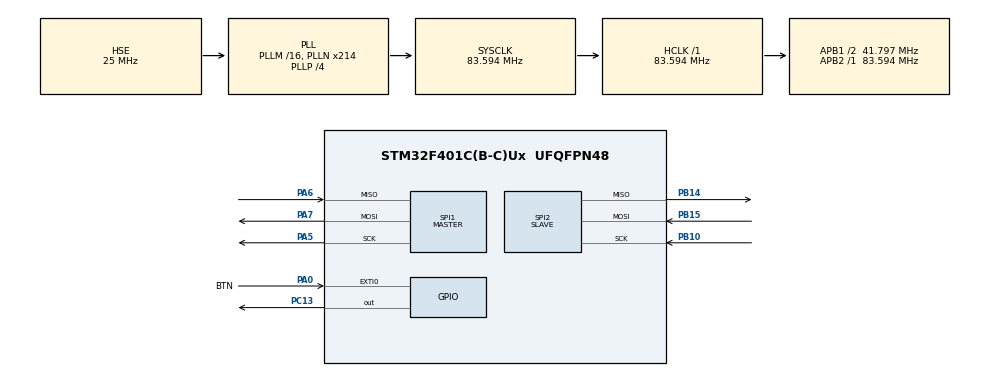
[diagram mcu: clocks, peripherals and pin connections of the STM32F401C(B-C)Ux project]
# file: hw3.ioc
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Mcu.Family=STM32F4
Mcu.Name=STM32F401C(B-C)Ux
Mcu.Package=UFQFPN48
NVIC.EXTI0_IRQn=true\:0\:0\:false\:false\:true\:true\:true\:true
NVIC.PriorityGroup=NVIC_PRIORITYGROUP_4
NVIC.SPI1_IRQn=true\:0\:0\:false\:false\:true\:true\:true\:true
NVIC.SPI2_IRQn=true\:0\:0\:false\:false\:true\:true\:true\:true
PA0-WKUP.GPIO_Label=BTN
PA0-WKUP.GPIO_ModeDefaultEXTI=GPIO_MODE_IT_FALLING
PA0-WKUP.GPIO_PuPd=GPIO_PULLUP
PA0-WKUP.Signal=GPXTI0
PA13.Mode=Trace_Asynchronous_SW
PA13.Signal=SYS_JTMS-SWDIO
PA14.Mode=Trace_Asynchronous_SW
PA14.Signal=SYS_JTCK-SWCLK
PA5.Mode=Full_Duplex_Master
PA5.Signal=SPI1_SCK
PA6.Mode=Full_Duplex_Master
PA6.Signal=SPI1_MISO
PA7.Mode=Full_Duplex_Master
PA7.Signal=SPI1_MOSI
PB10.Mode=Full_Duplex_Slave
PB10.Signal=SPI2_SCK
PB14.Mode=Full_Duplex_Slave
PB14.Signal=SPI2_MISO
PB15.Mode=Full_Duplex_Slave
PB15.Signal=SPI2_MOSI
PB3.Mode=Trace_Asynchronous_SW
PB3.Signal=SYS_JTDO-SWO
PC13-ANTI_TAMP.Signal=GPIO_Output
PC14-OSC32_IN.Mode=LSE-External-Oscillator
PC14-OSC32_IN.Signal=RCC_OSC32_IN
PC15-OSC32_OUT.Mode=LSE-External-Oscillator
PC15-OSC32_OUT.Signal=RCC_OSC32_OUT
PH0\ -\ OSC_IN.Mode=HSE-External-Oscillator
PH0\ -\ OSC_IN.Signal=RCC_OSC_IN
PH1\ -\ OSC_OUT.Mode=HSE-External-Oscillator
PH1\ -\ OSC_OUT.Signal=RCC_OSC_OUT
ProjectManager.HeapSize=0x200
ProjectManager.StackSize=0x400
ProjectManager.TargetToolchain=STM32CubeIDE
RCC.48MHZClocksFreq_Value=83593750
RCC.AHBFreq_Value=83593750
RCC.APB1CLKDivider=RCC_HCLK_DIV2
RCC.APB1Freq_Value=41796875
RCC.APB1TimFreq_Value=83593750
RCC.APB2Freq_Value=83593750
RCC.APB2TimFreq_Value=83593750
RCC.CortexFreq_Value=83593750
RCC.EnbaleCSS=true
RCC.HCLKFreq_Value=83593750
RCC.HSE_VALUE=25000000
RCC.HSI_VALUE=16000000
RCC.PLLN=214
RCC.PLLP=RCC_PLLP_DIV4
RCC.PLLSourceVirtual=RCC_PLLSOURCE_HSE
RCC.SYSCLKFreq_VALUE=83593750
RCC.SYSCLKSource=RCC_SYSCLKSOURCE_PLLCLK
RCC.VCOOutputFreq_Value=334375000
SPI1.BaudRatePrescaler=SPI_BAUDRATEPRESCALER_2
SPI1.CalculateBaudRate=41.796875 MBits/s
SPI1.Direction=SPI_DIRECTION_2LINES
SPI1.Mode=SPI_MODE_MASTER
SPI1.VirtualType=VM_MASTER
SPI2.Direction=SPI_DIRECTION_2LINES
SPI2.Mode=SPI_MODE_SLAVE
SPI2.VirtualType=VM_SLAVE
board=custom

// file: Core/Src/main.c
/* USER CODE BEGIN Header */
/**
  ******************************************************************************
  * @file           : main.c
  * @brief          : Main program body
  ******************************************************************************
  * @attention
  *
  * Copyright (c) 2026 STMicroelectronics.
  * All rights reserved.
  *
  * This software is licensed under terms that can be found in the LICENSE file
  * in the root directory of this software component.
  * If no LICENSE file comes with this software, it is provided AS-IS.
  *
  ******************************************************************************
  */
/* USER CODE END Header */
#include "main.h"

/* USER CODE BEGIN Includes */
#include "core_cm4.h"
/* USER CODE END Includes */

SPI_HandleTypeDef hspi1;
SPI_HandleTypeDef hspi2;

/* USER CODE BEGIN PV */
/* Переменные для обработки кнопки и PWM */
volatile uint8_t led_pwm_active = 0;    /* Флаг активного PWM режима: 0 - выкл, 1 - вкл */
uint8_t pwm_duty = 0;                   /* Текущий duty cycle PWM (0-100) */
uint8_t pwm_direction = 0;              /* Направление изменения PWM: 0 - рост, 1 - спад */

/* Переменные для SPI обмена */
uint8_t tx_byte = 0;           /* Байт для передачи (состояние PWM) */
volatile uint8_t rx_byte = 0;  /* Принятый байт на Master (от Slave) */
volatile uint8_t slave_rx = 0; /* Принятый байт на Slave */
uint8_t last_pwm_state = 0;    /* Для отслеживания изменения PWM */

/* Новые переменные для CRC */
volatile uint8_t spi_crc_error = 0;      /* Флаг ошибки CRC */
volatile uint8_t spi_total_errors = 0;   /* Счетчик общих ошибок */
uint8_t tx_crc = 0;                     /* CRC для передачи */
uint8_t rx_crc = 0;                     /* CRC для приема */
/* USER CODE END PV */

void SystemClock_Config(void);
static void MX_GPIO_Init(void);
static void MX_SPI1_Init(void);
static void MX_SPI2_Init(void);

/* USER CODE BEGIN 0 */

/* Задержка в микросекундах для PWM */
static void Delay_us(uint32_t us)
{
  uint32_t start = DWT->CYCCNT;
  uint32_t freq = HAL_RCC_GetHCLKFreq() / 100000;  /* Частота в МГц */
  while ((DWT->CYCCNT - start) < (us * freq));
}

/* Функция программного PWM для светодиода
 * Светодиод на PC13 активный низкий (0 = горит, 1 = выкл)
 */
static void PWM_LED(uint8_t duty)
{
  /* Светодиод ГОРИТ на duty% периода (низкий уровень) */
  HAL_GPIO_WritePin(GPIOC, GPIO_PIN_13, GPIO_PIN_RESET);
  Delay_us(duty * 10);  /* 10 мкс на 1% duty cycle */

  /* Светодиод ВЫКЛЮЧЕН на (100-duty)% периода (высокий уровень) */
  HAL_GPIO_WritePin(GPIOC, GPIO_PIN_13, GPIO_PIN_SET);
  Delay_us((100 - duty) * 10);
}

/* Функция плавного изменения яркости */
static void Update_PWM(void)
{
  if (pwm_direction == 0)
  {
    pwm_duty++;
    if (pwm_duty >= 100)
    {
      pwm_duty = 100;
      pwm_direction = 1;  /* Меняем направление на спад */
    }
  }
  else
  {
    pwm_duty--;
    if (pwm_duty == 0)
    {
      pwm_duty = 0;
      pwm_direction = 0;  /* Меняем направление на рост */
    }
  }
}

/* Простая задержка для антидребезга без HAL_Delay */
static void Delay_ms_simple(uint32_t ms)
{
  for (uint32_t i = 0; i < ms * 8000; i++)  /* Примерно 1 мс при 8 MHz */
  {
    __NOP();
  }
}

/* Обработчик прерывания от кнопки (вызывается из stm32f4xx_it.c) */
void HAL_GPIO_EXTI_Callback(uint16_t GPIO_Pin)
{
  if (GPIO_Pin == BTN_Pin)  /* Кнопка на PA0 */
  {
    /* Антидребезг */
    Delay_ms_simple(20);

    /* Проверяем, что кнопка всё ещё нажата (активный низкий уровень) */
    if (HAL_GPIO_ReadPin(BTN_GPIO_Port, BTN_Pin) == GPIO_PIN_RESET)
    {
      /* Переключаем режим PWM */
      led_pwm_active = !led_pwm_active;
    }
  }
}

/* Расчет CRC-8 для данных */
static uint8_t SPI_Calculate_CRC8(const uint8_t *data, uint8_t length)
{
  uint8_t crc = 0x00;  // Начальное значение

  for (uint8_t i = 0; i < length; i++)
  {
    crc ^= data[i];

    for (uint8_t bit = 0; bit < 8; bit++)
    {
      if (crc & 0x80)
      {
        crc = (crc << 1) ^ 0x07;
      }
      else
      {
        crc <<= 1;
      }
    }
  }

  return crc;
}

/* Проверка CRC-8 */
static uint8_t SPI_Validate_CRC8(const uint8_t *data, uint8_t length, uint8_t crc)
{
  return (SPI_Calculate_CRC8(data, length) == crc) ? 1 : 0;
}

/* Функция обмена данными через SPI (Master → Slave) с проверкой CRC
 * Master передаёт led_pwm_active (0 или 1) + CRC
 * Slave принимает данные, проверяет CRC и отправляет ответ
 */
static void SPI_Exchange(void)
{
  // Формируем данные для передачи
  tx_byte = led_pwm_active ? 0x01 : 0x00;

  // Рассчитываем CRC для данных
  tx_crc = SPI_Calculate_CRC8(&tx_byte, 1);

  // Master: начинаем передачу
  HAL_GPIO_WritePin(GPIOA, GPIO_PIN_4, GPIO_PIN_RESET);  // NSS низкий

  // Master: передаем данные
  HAL_SPI_Transmit(&hspi1, &tx_byte, 1, 100);

  // Master: передаем CRC
  HAL_SPI_Transmit(&hspi1, &tx_crc, 1, 100);

  // Master: поднимаем NSS
  HAL_GPIO_WritePin(GPIOA, GPIO_PIN_4, GPIO_PIN_SET);

  // Slave: начинаем прием через прерывание
  HAL_SPI_Receive_IT(&hspi2, (uint8_t*)&slave_rx, 1);

  // Ждем завершения приема на Slave
  for (volatile int i = 0; i < 1000; i++);

  // Master: начинаем прием ответа
  HAL_GPIO_WritePin(GPIOA, GPIO_PIN_4, GPIO_PIN_RESET);

  // Master: принимаем данные
  HAL_SPI_Receive(&hspi1, &rx_byte, 1, 100);

  // Master: принимаем CRC
  HAL_SPI_Receive(&hspi1, &rx_crc, 1, 100);

  // Master: поднимаем NSS
  HAL_GPIO_WritePin(GPIOA, GPIO_PIN_4, GPIO_PIN_SET);

  // Проверяем CRC ответа
  if (SPI_Validate_CRC8(&rx_byte, 1, rx_crc))
  {
    // Данные корректны
    slave_rx = rx_byte;
    spi_crc_error = 0;
  }
  else
  {
    // Ошибка CRC
    spi_crc_error = 1;
    spi_total_errors++;
    slave_rx = 0xFF;  // Код ошибки
  }
}

/* USER CODE END 0 */

int main(void)
{

  /* MCU Configuration--------------------------------------------------------*/

  /* Reset of all peripherals, Initializes the Flash interface and the Systick. */
  HAL_Init();

  /* Configure the system clock */
  SystemClock_Config();

  /* Initialize all configured peripherals */
  MX_GPIO_Init();
  MX_SPI1_Init();
  MX_SPI2_Init();
  /* USER CODE BEGIN 2 */
  /* Инициализация DWT для задержек в микросекундах */
  CoreDebug->DEMCR |= CoreDebug_DEMCR_TRCENA_Msk;
  DWT->CYCCNT = 0;
  DWT->CTRL |= DWT_CTRL_CYCCNTENA_Msk;

  /* Инициализация переменных PWM - по умолчанию светодиод выключен */
  led_pwm_active = 0;
  pwm_duty = 0;
  pwm_direction = 0;

  /* Инициализация переменных CRC */
  spi_crc_error = 0;
  spi_total_errors = 0;
  tx_crc = 0;
  rx_crc = 0;

  /* Выключаем светодиод (инверсный выход: SET = 1 = не горит) */
  HAL_GPIO_WritePin(GPIOC, GPIO_PIN_13, GPIO_PIN_SET);
  /* USER CODE END 2 */

  /* Infinite loop */
  while (1)
  {

    /* USER CODE BEGIN 3 */
    /* SPI обмен только при изменении PWM состояния */
    if (led_pwm_active != last_pwm_state)
    {
      last_pwm_state = led_pwm_active;
      SPI_Exchange();

      /* Проверяем ошибки после обмена */
      if (spi_crc_error)
      {
        /* Можно добавить обработку ошибки здесь */
        /* Например, повторная передача или логирование */
      }
    }

    if (led_pwm_active)
    {
      /* PWM режим: светодиод мигает с изменяемой яркостью */
      PWM_LED(pwm_duty);
      Update_PWM();
    }
    else
    {
      /* LED выключен (инверсный выход: SET = 1 = не горит) */
      HAL_GPIO_WritePin(GPIOC, GPIO_PIN_13, GPIO_PIN_SET);
    }
  }
  /* USER CODE END 3 */
}

void SystemClock_Config(void)
{
  RCC_OscInitTypeDef RCC_OscInitStruct = {0};
  RCC_ClkInitTypeDef RCC_ClkInitStruct = {0};

  /** Configure the main internal regulator output voltage
  */
  __HAL_RCC_PWR_CLK_ENABLE();
  __HAL_PWR_VOLTAGESCALING_CONFIG(PWR_REGULATOR_VOLTAGE_SCALE2);

  /** Initializes the RCC Oscillators according to the specified parameters
  * in the RCC_OscInitTypeDef structure.
  */
  RCC_OscInitStruct.OscillatorType = RCC_OSCILLATORTYPE_HSE;
  RCC_OscInitStruct.HSEState = RCC_HSE_ON;
  RCC_OscInitStruct.PLL.PLLState = RCC_PLL_ON;
  RCC_OscInitStruct.PLL.PLLSource = RCC_PLLSOURCE_HSE;
  RCC_OscInitStruct.PLL.PLLM = 16;
  RCC_OscInitStruct.PLL.PLLN = 214;
  RCC_OscInitStruct.PLL.PLLP = RCC_PLLP_DIV4;
  RCC_OscInitStruct.PLL.PLLQ = 4;
  if (HAL_RCC_OscConfig(&RCC_OscInitStruct) != HAL_OK)
  {
    Error_Handler();
  }

  /** Initializes the CPU, AHB and APB buses clocks
  */
  RCC_ClkInitStruct.ClockType = RCC_CLOCKTYPE_HCLK|RCC_CLOCKTYPE_SYSCLK
                              |RCC_CLOCKTYPE_PCLK1|RCC_CLOCKTYPE_PCLK2;
  RCC_ClkInitStruct.SYSCLKSource = RCC_SYSCLKSOURCE_PLLCLK;
  RCC_ClkInitStruct.AHBCLKDivider = RCC_SYSCLK_DIV1;
  RCC_ClkInitStruct.APB1CLKDivider = RCC_HCLK_DIV2;
  RCC_ClkInitStruct.APB2CLKDivider = RCC_HCLK_DIV1;

  if (HAL_RCC_ClockConfig(&RCC_ClkInitStruct, FLASH_LATENCY_2) != HAL_OK)
  {
    Error_Handler();
  }

  /** Enables the Clock Security System
  */
  HAL_RCC_EnableCSS();
}

static void MX_SPI1_Init(void)
{

  /* SPI1 parameter configuration*/
  hspi1.Instance = SPI1;
  hspi1.Init.Mode = SPI_MODE_MASTER;
  hspi1.Init.Direction = SPI_DIRECTION_2LINES;
  hspi1.Init.DataSize = SPI_DATASIZE_8BIT;
  hspi1.Init.CLKPolarity = SPI_POLARITY_LOW;
  hspi1.Init.CLKPhase = SPI_PHASE_1EDGE;
  hspi1.Init.NSS = SPI_NSS_SOFT;
  hspi1.Init.BaudRatePrescaler = SPI_BAUDRATEPRESCALER_2;
  hspi1.Init.FirstBit = SPI_FIRSTBIT_MSB;
  hspi1.Init.TIMode = SPI_TIMODE_DISABLE;
  hspi1.Init.CRCCalculation = SPI_CRCCALCULATION_DISABLE;
  hspi1.Init.CRCPolynomial = 10;
  if (HAL_SPI_Init(&hspi1) != HAL_OK)
  {
    Error_Handler();
  }

}

static void MX_SPI2_Init(void)
{

  /* SPI2 parameter configuration*/
  hspi2.Instance = SPI2;
  hspi2.Init.Mode = SPI_MODE_SLAVE;
  hspi2.Init.Direction = SPI_DIRECTION_2LINES;
  hspi2.Init.DataSize = SPI_DATASIZE_8BIT;
  hspi2.Init.CLKPolarity = SPI_POLARITY_LOW;
  hspi2.Init.CLKPhase = SPI_PHASE_1EDGE;
  hspi2.Init.NSS = SPI_NSS_SOFT;
  hspi2.Init.FirstBit = SPI_FIRSTBIT_MSB;
  hspi2.Init.TIMode = SPI_TIMODE_DISABLE;
  hspi2.Init.CRCCalculation = SPI_CRCCALCULATION_DISABLE;
  hspi2.Init.CRCPolynomial = 10;
  if (HAL_SPI_Init(&hspi2) != HAL_OK)
  {
    Error_Handler();
  }

}

static void MX_GPIO_Init(void)
{
  GPIO_InitTypeDef GPIO_InitStruct = {0};

  /* GPIO Ports Clock Enable */
  __HAL_RCC_GPIOC_CLK_ENABLE();
  __HAL_RCC_GPIOH_CLK_ENABLE();
  __HAL_RCC_GPIOA_CLK_ENABLE();
  __HAL_RCC_GPIOB_CLK_ENABLE();

  /*Configure GPIO pin Output Level */
  HAL_GPIO_WritePin(GPIOC, GPIO_PIN_13, GPIO_PIN_RESET);

  /*Configure GPIO pin : PC13 */
  GPIO_InitStruct.Pin = GPIO_PIN_13;
  GPIO_InitStruct.Mode = GPIO_MODE_OUTPUT_PP;
  GPIO_InitStruct.Pull = GPIO_NOPULL;
  GPIO_InitStruct.Speed = GPIO_SPEED_FREQ_LOW;
  HAL_GPIO_Init(GPIOC, &GPIO_InitStruct);

  /*Configure GPIO pin : BTN_Pin */
  GPIO_InitStruct.Pin = BTN_Pin;
  GPIO_InitStruct.Mode = GPIO_MODE_IT_FALLING;
  GPIO_InitStruct.Pull = GPIO_PULLUP;
  HAL_GPIO_Init(BTN_GPIO_Port, &GPIO_InitStruct);

  /* EXTI interrupt init*/
  HAL_NVIC_SetPriority(EXTI0_IRQn, 0, 0);
  HAL_NVIC_EnableIRQ(EXTI0_IRQn);

}

void Error_Handler(void)
{
  __disable_irq();
  while (1)
  {
  }
}
